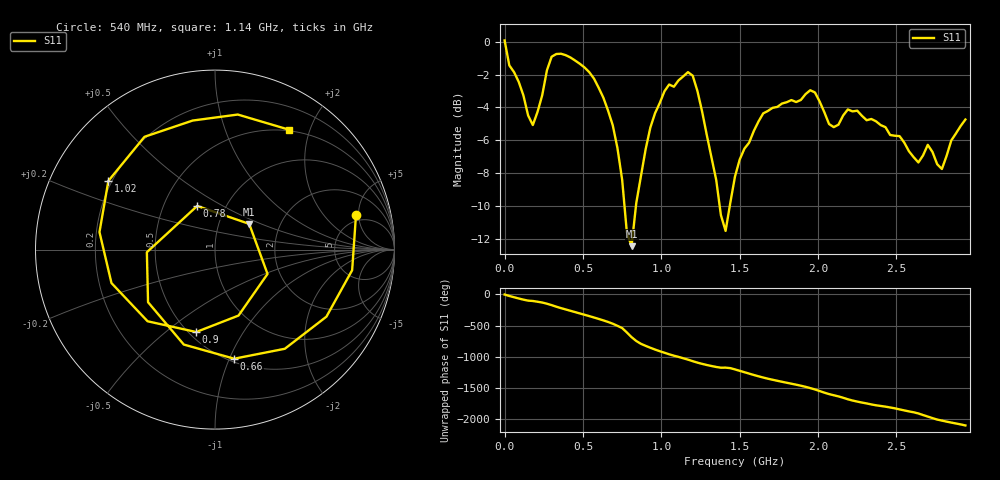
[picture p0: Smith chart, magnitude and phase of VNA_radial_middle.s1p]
# HZ S RI R 50
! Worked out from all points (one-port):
!   99 points, 50 kHz to 2.94 GHz, reference 50 ohm
!   lowest |S11| = -12.5 dB at 810 MHz (marker M1), VSWR 1.63, Z = 69.8 + j21.2 ohm
!   |S11| at or under -10 dB: 764.9 MHz to 838.1 MHz (73.13 MHz wide, 9.12 % of centre); 1.372 GHz to 1.437 GHz (64.52 MHz wide, 4.59 % of centre)
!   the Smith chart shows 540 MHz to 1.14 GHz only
!   S11 on the Smith chart (normalised r, x): 540 MHz: 4.20, +4.63; 660 MHz: 0.53, -1.04; 780 MHz: 0.73, +0.38; 900 MHz: 0.54, -0.64; 1.02 GHz: 0.19, +0.28; 1.14 GHz: 0.48, +1.69
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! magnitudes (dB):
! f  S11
! 50 kHz  0.1
! 30.05 MHz  -1.4
! 180 MHz  -5.1
! 300 MHz  -0.9
! 390 MHz  -0.8
! 540 MHz  -1.8
! 660 MHz  -4.2
! 750 MHz  -8.4
! 780 MHz  -11.6
! 810 MHz  -12.5
! 840 MHz  -9.8
! 900 MHz  -6.5
! 1.02 GHz  -3.0
! 1.11 GHz  -2.3
! 1.14 GHz  -2.1
! 1.23 GHz  -3.0
! 1.41 GHz  -11.5
! 1.47 GHz  -8.2
! 1.65 GHz  -4.4
! 1.86 GHz  -3.7
! 1.98 GHz  -3.1
! 2.1 GHz  -5.2
! 2.22 GHz  -4.2
! 2.58 GHz  -6.7
! 2.64 GHz  -7.4
! 2.7 GHz  -6.3
! 2.79 GHz  -7.8
! 2.94 GHz  -4.7
